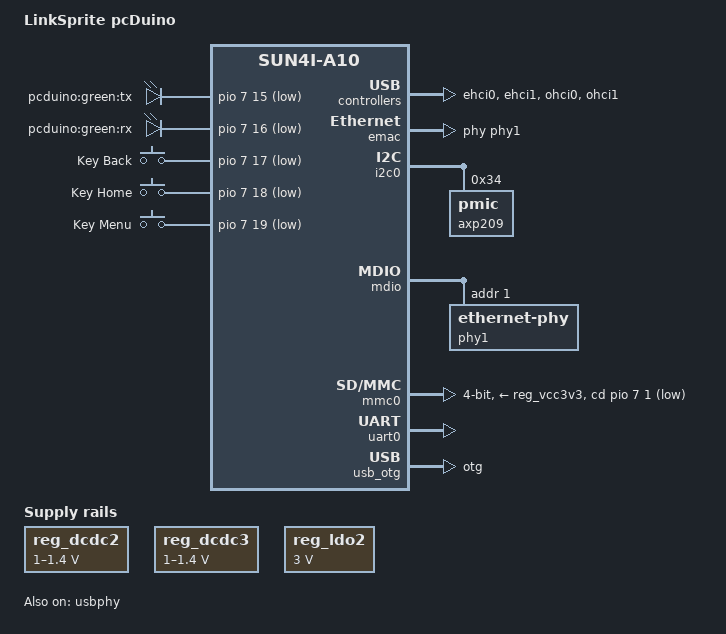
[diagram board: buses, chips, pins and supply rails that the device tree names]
/*
 * Copyright 2014 Zoltan HERPAI
 * Zoltan HERPAI <wigyori@uid0.hu>
 *
 * This file is dual-licensed: you can use it either under the terms
 * of the GPL or the X11 license, at your option. Note that this dual
 * licensing only applies to this file, and not this project as a
 * whole.
 *
 *  a) This file is free software; you can redistribute it and/or
 *     modify it under the terms of the GNU General Public License as
 *     published by the Free Software Foundation; either version 2 of the
 *     License, or (at your option) any later version.
 *
 *     This file is distributed in the hope that it will be useful,
 *     but WITHOUT ANY WARRANTY; without even the implied warranty of
 *     MERCHANTABILITY or FITNESS FOR A PARTICULAR PURPOSE.  See the
 *     GNU General Public License for more details.
 *
 * Or, alternatively,
 *
 *  b) Permission is hereby granted, free of charge, to any person
 *     obtaining a copy of this software and associated documentation
 *     files (the "Software"), to deal in the Software without
 *     restriction, including without limitation the rights to use,
 *     copy, modify, merge, publish, distribute, sublicense, and/or
 *     sell copies of the Software, and to permit persons to whom the
 *     Software is furnished to do so, subject to the following
 *     conditions:
 *
 *     The above copyright notice and this permission notice shall be
 *     included in all copies or substantial portions of the Software.
 *
 *     THE SOFTWARE IS PROVIDED "AS IS", WITHOUT WARRANTY OF ANY KIND,
 *     EXPRESS OR IMPLIED, INCLUDING BUT NOT LIMITED TO THE WARRANTIES
 *     OF MERCHANTABILITY, FITNESS FOR A PARTICULAR PURPOSE AND
 *     NONINFRINGEMENT. IN NO EVENT SHALL THE AUTHORS OR COPYRIGHT
 *     HOLDERS BE LIABLE FOR ANY CLAIM, DAMAGES OR OTHER LIABILITY,
 *     WHETHER IN AN ACTION OF CONTRACT, TORT OR OTHERWISE, ARISING
 *     FROM, OUT OF OR IN CONNECTION WITH THE SOFTWARE OR THE USE OR
 *     OTHER DEALINGS IN THE SOFTWARE.
 */

/dts-v1/;
#include "sun4i-a10.dtsi"
#include "sunxi-common-regulators.dtsi"

#include <dt-bindings/gpio/gpio.h>
#include <dt-bindings/input/input.h>

/ {
	model = "LinkSprite pcDuino";
	compatible = "linksprite,a10-pcduino", "allwinner,sun4i-a10";

	aliases {
		serial0 = &uart0;
	};

	chosen {
		stdout-path = "serial0:115200n8";
	};

	leds {
		compatible = "gpio-leds";

		tx {
			label = "pcduino:green:tx";
			gpios = <&pio 7 15 GPIO_ACTIVE_LOW>;
		};

		rx {
			label = "pcduino:green:rx";
			gpios = <&pio 7 16 GPIO_ACTIVE_LOW>;
		};
	};

	gpio_keys {
		compatible = "gpio-keys";
		#address-cells = <1>;
		#size-cells = <0>;

		back {
			label = "Key Back";
			linux,code = <KEY_BACK>;
			gpios = <&pio 7 17 GPIO_ACTIVE_LOW>;
		};

		home {
			label = "Key Home";
			linux,code = <KEY_HOME>;
			gpios = <&pio 7 18 GPIO_ACTIVE_LOW>;
		};

		menu {
			label = "Key Menu";
			linux,code = <KEY_MENU>;
			gpios = <&pio 7 19 GPIO_ACTIVE_LOW>;
		};
	};
};

&cpu0 {
	cpu-supply = <&reg_dcdc2>;
};

&ehci0 {
	status = "okay";
};

&ehci1 {
	status = "okay";
};

&emac {
	phy = <&phy1>;
	status = "okay";
};

&emac_sram {
	status = "okay";
};

&i2c0 {
	status = "okay";

	axp209: pmic@34 {
		reg = <0x34>;
		interrupts = <0>;
	};
};

&mdio {
	status = "okay";

	phy1: ethernet-phy@1 {
		reg = <1>;
	};
};

&mmc0 {
	vmmc-supply = <&reg_vcc3v3>;
	bus-width = <4>;
	cd-gpios = <&pio 7 1 GPIO_ACTIVE_HIGH>; /* PH1 */
	cd-inverted;
	status = "okay";
};

&ohci0 {
	status = "okay";
};

&ohci1 {
	status = "okay";
};

&otg_sram {
	status = "okay";
};

&pio {
	usb0_id_detect_pin: usb0_id_detect_pin@0 {
		pins = "PH4";
		function = "gpio_in";
		bias-pull-up;
	};
};

#include "axp209.dtsi"

&reg_dcdc2 {
	regulator-always-on;
	regulator-min-microvolt = <1000000>;
	regulator-max-microvolt = <1400000>;
	regulator-name = "vdd-cpu";
};

&reg_dcdc3 {
	regulator-always-on;
	regulator-min-microvolt = <1000000>;
	regulator-max-microvolt = <1400000>;
	regulator-name = "vdd-int-dll";
};

&reg_ldo1 {
	regulator-name = "vdd-rtc";
};

&reg_ldo2 {
	regulator-always-on;
	regulator-min-microvolt = <3000000>;
	regulator-max-microvolt = <3000000>;
	regulator-name = "avcc";
};

&uart0 {
	pinctrl-names = "default";
	pinctrl-0 = <&uart0_pb_pins>;
	status = "okay";
};

&usb_otg {
	dr_mode = "otg";
	status = "okay";
};

&usbphy {
	pinctrl-names = "default";
	pinctrl-0 = <&usb0_id_detect_pin>;
	usb0_id_det-gpio = <&pio 7 4 GPIO_ACTIVE_HIGH>; /* PH4 */
	usb1_vbus-supply = <&reg_vcc5v0>; /* USB1 VBUS is always on */
	usb2_vbus-supply = <&reg_vcc5v0>; /* USB2 VBUS is always on */
	status = "okay";
};
